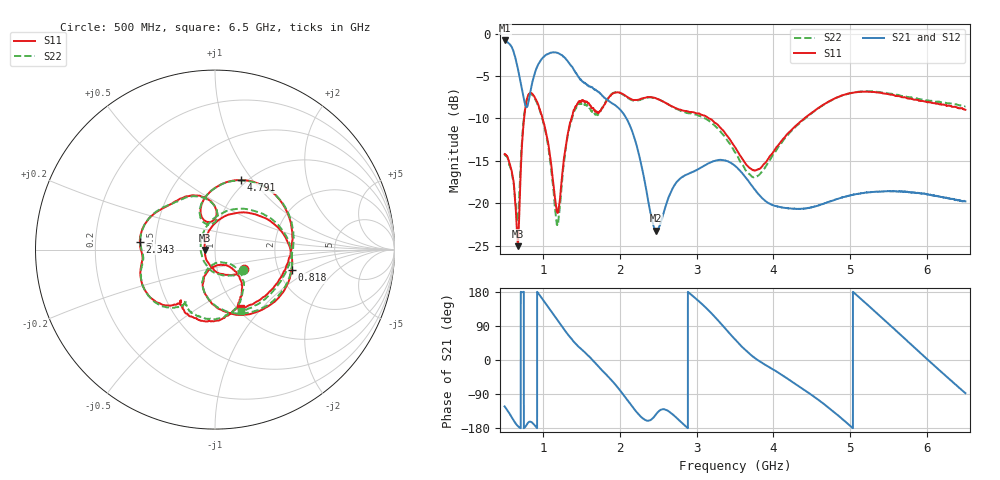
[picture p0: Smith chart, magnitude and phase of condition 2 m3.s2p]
# Hz S DB R 50
! CMT, S5065, 24347010, 24.3.4/3
! Date: 10/15/2024 12:24:32 PM
! Data: Format (Calibration Info)
! Freq	S11:dB/Ang(F2)	S21:dB/Ang(F2)	S12:dB/Ang(F2)	S22:dB/Ang(F2)
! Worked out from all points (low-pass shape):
!   10001 points, 500 MHz to 6.5 GHz, reference 50 ohm
!   highest |S21| = -0.80 dB at 500.6 MHz (marker M1); lowest = -23.3 dB at 2.473 GHz (marker M2)
!   |S21| within 3 dB of the highest: start of sweep to 664.7 MHz; 928.2 MHz to 1.369 GHz (440.4 MHz wide, 38.3 % of centre)
!   lowest |S11| = -25.1 dB at 673.4 MHz (marker M3), VSWR 1.12, Z = 44.7 - j0.197 ohm
!   |S11| at or under -10 dB: start of sweep to 753.9 MHz; 994.1 MHz to 1.371 GHz (377.3 MHz wide, 31.9 % of centre); 3.165 GHz to 4.402 GHz (1.238 GHz wide, 32.7 % of centre)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
!   |S22| runs from -22.6 to -6.8 dB; largest |S21 - S12| = 0.003
!   S11 on the Smith chart (normalised r, x): 500 MHz: 1.35, -0.30; 818 MHz: 2.35, -0.67; 2.343 GHz: 0.41, +0.04; 4.791 GHz: 0.94, +0.88; 6.5 GHz: 1.04, -0.77
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5e8  -14.21 -33.3  -0.80 -122.5  -0.80 -122.6  -14.27 -36.4
5.006e8  -14.21 -33.5  -0.80 -122.6  -0.80 -122.7  -14.28 -36.5
5.966e8  -16.38 -67.6  -1.65 -152.3  -1.65 -152.4  -16.59 -74.0
6.734e8  -25.06 -177.7  -4.15 -174.7  -4.16 -174.8  -21.80 172.1
7.424e8  -11.08 46.9  -7.36 179.3  -7.36 179.2  -10.68 49.7
8.18e8  -7.09 -15.1  -7.74 -163.2  -7.74 -163.3  -7.16 -13.7
9.992e8  -10.13 -90.6  -2.82 159.2  -2.82 159.1  -10.29 -91.3
1.1852e9  -21.09 -82.8  -2.25 106.4  -2.25 106.3  -22.49 -79.7
1.3292e9  -11.49 -55.9  -3.37 66.1  -3.35 66.0  -11.62 -52.7
1.5002e9  -7.90 -96.4  -5.52 28.2  -5.51 28.2  -8.24 -95.6
1.9484e9  -6.94 -147.2  -8.50 -66.5  -8.49 -66.6  -6.92 -146.3
2.1584e9  -7.77 -171.8  -11.44 -122.1  -11.44 -122.3  -7.85 -171.6
2.3432e9  -7.53 173.8  -18.36 -159.4  -18.38 -159.6  -7.57 174.0
2.4728e9  -7.63 160.0  -23.25 -142.9  -23.27 -143.2  -7.63 159.5
2.5004e9  -7.74 157.1  -23.03 -136.8  -23.03 -137.0  -7.74 156.7
2.792e9  -8.98 135.4  -17.05 -162.7  -17.07 -163.0  -9.11 133.2
3.5e9  -13.39 87.7  -15.59 54.3  -15.60 54.0  -13.99 85.7
3.7898e9  -16.04 102.8  -18.75 0.7  -18.77 0.4  -16.81 104.2
4.5002e9  -9.33 90.5  -20.47 -92.7  -20.48 -93.1  -9.37 90.7
4.7906e9  -7.68 69.6  -19.63 -137.6  -19.65 -137.9  -7.69 69.3
5.5004e9  -7.14 11.6  -18.58 95.2  -18.61 94.9  -7.05 9.9
6.5e9  -8.98 -66.6  -19.79 -87.5  -19.83 -87.5  -8.57 -67.0
